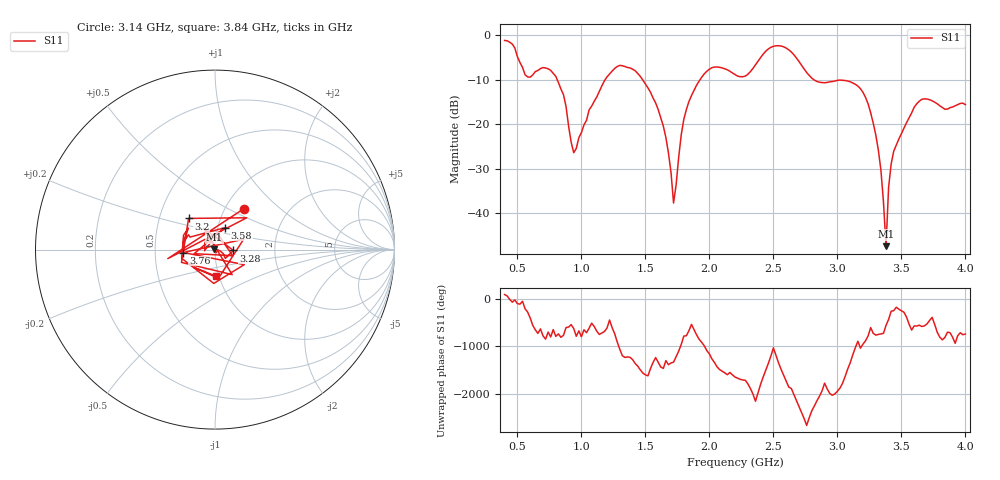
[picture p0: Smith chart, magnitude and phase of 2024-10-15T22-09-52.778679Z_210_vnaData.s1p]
! Created with skrf (http://scikit-rf.org).
# Hz S RI R 50.0
!freq ReS11 ImS11
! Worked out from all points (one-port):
!   181 points, 400 MHz to 4 GHz, reference 50 ohm
!   lowest |S11| = -47.3 dB at 3.38 GHz (marker M1), VSWR 1.01, Z = 49.6 + j0.108 ohm
!   |S11| at or under -10 dB: 810.9 MHz to 1.186 GHz (374.8 MHz wide, 37.5 % of centre); 1.478 GHz to 1.927 GHz (449.3 MHz wide, 26.4 % of centre); 2.816 GHz to end of sweep
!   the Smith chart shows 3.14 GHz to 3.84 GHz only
!   S11 on the Smith chart (normalised r, x): 3.14 GHz: 1.22, +0.61; 3.2 GHz: 0.70, +0.26; 3.28 GHz: 1.23, -0.01; 3.58 GHz: 1.08, +0.27; 3.76 GHz: 0.70, -0.02; 3.84 GHz: 0.96, -0.29
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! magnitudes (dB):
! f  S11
! 400 MHz  -1.2
! 560 MHz  -8.9
! 740 MHz  -7.6
! 860 MHz  -13.4
! 940 MHz  -26.4
! 1.3 GHz  -6.8
! 1.58 GHz  -15.2
! 1.66 GHz  -23.0
! 1.72 GHz  -37.7
! 1.76 GHz  -27.4
! 1.82 GHz  -16.7
! 1.94 GHz  -9.4
! 2.2 GHz  -8.8
! 2.66 GHz  -4.4
! 2.84 GHz  -10.4
! 3.1 GHz  -10.5
! 3.14 GHz  -11.0
! 3.2 GHz  -12.9
! 3.28 GHz  -19.8
! 3.34 GHz  -30.3
! 3.38 GHz  -47.3
! 3.4 GHz  -34.2
! 3.42 GHz  -28.9
! 3.56 GHz  -18.5
! 3.58 GHz  -17.5
! 3.76 GHz  -15.1
! 3.84 GHz  -16.6
! 4 GHz  -15.6
